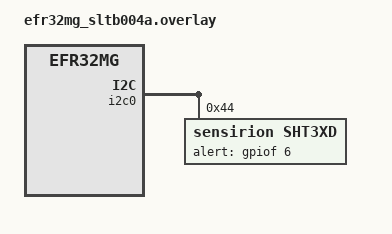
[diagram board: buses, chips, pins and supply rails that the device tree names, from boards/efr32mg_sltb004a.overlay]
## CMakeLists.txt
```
#
# Copyright (c) 2018 Peter Bigot Consulting, LLC
#
# SPDX-License-Identifier: Apache-2.0
#

cmake_minimum_required(VERSION 3.13.1)
find_package(Zephyr REQUIRED HINTS $ENV{ZEPHYR_BASE})
project(sht3xd)

FILE(GLOB app_sources src/*.c)
target_sources(app PRIVATE ${app_sources})
```

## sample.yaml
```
#
# Copyright (c) 2018 Peter Bigot Consulting, LLC
#
# SPDX-License-Identifier: Apache-2.0
#

sample:
  name: SHT3XD Sensor Sample
tests:
  sample.sensor.sht3xd:
    build_only: true
    platform_allow: efr32mg_sltb004a frdm_k64f nrf51_ble400
      nrf52840dk_nrf52840 nucleo_l476rg
    tags: sensors
  sample.sensor.sht3xd.trigger:
    build_only: true
    extra_args: CONF_FILE="trigger.conf"
    platform_allow: efr32mg_sltb004a frdm_k64f nrf51_ble400
      nrf52840dk_nrf52840 nucleo_l476rg
    tags: sensors
```

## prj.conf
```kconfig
#
# Copyright (c) 2018 Peter Bigot Consulting, LLC
#
# SPDX-License-Identifier: Apache-2.0
#

CONFIG_STDOUT_CONSOLE=y
CONFIG_I2C=y
CONFIG_SENSOR=y
CONFIG_SHT3XD=y
CONFIG_CBPRINTF_FP_SUPPORT=y
```

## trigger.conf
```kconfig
#
# Copyright (c) 2019 Peter Bigot Consulting, LLC
#
# SPDX-License-Identifier: Apache-2.0
#

CONFIG_STDOUT_CONSOLE=y
CONFIG_I2C=y
CONFIG_SENSOR=y
CONFIG_SHT3XD=y
CONFIG_LOG=y
CONFIG_SENSOR_LOG_LEVEL_DBG=y
CONFIG_SHT3XD_TRIGGER_GLOBAL_THREAD=y
```

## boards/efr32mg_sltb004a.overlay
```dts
/*
 * Copyright (c) 2018-2019 Peter Bigot Consulting, LLC
 *
 * SPDX-License-Identifier: Apache-2.0
 */

&i2c0 { /* SDA H16=PC10, SCL H15=PC11, ALERT H13=PF6 */
	sht3xd@44 {
		compatible = "sensirion,sht3xd";
		reg = <0x44>;
		label = "SHT3XD";
		alert-gpios = <&gpiof 6 GPIO_ACTIVE_HIGH>;
	};
};
```

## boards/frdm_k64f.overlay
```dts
/*
 * Copyright (c) 2019 Peter Bigot Consulting, LLC
 *
 * SPDX-License-Identifier: Apache-2.0
 */

&i2c0 { /* SDA PTE25, SCL PTE24, ALERT PTE26 */
	sht3xd@44 {
		compatible = "sensirion,sht3xd";
		reg = <0x44>;
		label = "SHT3XD";
		alert-gpios = <&gpioe 26 GPIO_ACTIVE_HIGH>;
	};
};
```

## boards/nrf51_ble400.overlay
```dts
/*
 * Copyright (c) 2018-2019 Peter Bigot Consulting, LLC
 *
 * SPDX-License-Identifier: Apache-2.0
 */

&i2c0 { /* SDA 0, SCL 1 */
	sht3xd@44 {
		compatible = "sensirion,sht3xd";
		reg = <0x44>;
		label = "SHT3XD";
		alert-gpios = <&gpio0 2 GPIO_ACTIVE_HIGH>;
	};
};
```

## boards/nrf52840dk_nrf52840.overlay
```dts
/*
 * Copyright (c) 2018-2019 Peter Bigot Consulting, LLC
 *
 * SPDX-License-Identifier: Apache-2.0
 */

&i2c0 { /* SDA P0.26, SCL P0.27, ALERT P1.10 */
	sht3xd@44 {
		compatible = "sensirion,sht3xd";
		reg = <0x44>;
		label = "SHT3XD";
		alert-gpios = <&gpio1 10 GPIO_ACTIVE_HIGH>;
	};
};
```

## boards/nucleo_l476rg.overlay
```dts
/*
 * Copyright (c) 2019 Peter Bigot Consulting, LLC
 *
 * SPDX-License-Identifier: Apache-2.0
 */

&i2c1 { /* SDA CN5.9=PB9, SCL CN5.10=PB8, ALERT CN5.1=D8=PA9 */
/* &i2c3 { * SDA CN7.36=PC1, SCL CN7.38=PC0, ALERT CN7.34=PB0 */
	sht3xd@44 {
		compatible = "sensirion,sht3xd";
		reg = <0x44>;
		label = "SHT3XD";
		alert-gpios = <&gpioa 9 GPIO_ACTIVE_HIGH>;
	};
};
```

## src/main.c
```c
/*
 * Copyright (c) 2018 Peter Bigot Consulting, LLC
 *
 * SPDX-License-Identifier: Apache-2.0
 */

#include <zephyr.h>
#include <device.h>
#include <drivers/sensor.h>
#include <stdio.h>

#define ALERT_HUMIDITY_LO 50
#define ALERT_HUMIDITY_HI 60

#ifdef CONFIG_SHT3XD_TRIGGER
static volatile bool alerted;

static void trigger_handler(const struct device *dev,
			    struct sensor_trigger *trig)
{
	alerted = !alerted;
}

#endif

void main(void)
{
	const struct device *dev = device_get_binding("SHT3XD");
	int rc;

	if (dev == NULL) {
		printf("Could not get SHT3XD device\n");
		return;
	}

#ifdef CONFIG_SHT3XD_TRIGGER
	struct sensor_trigger trig = {
		.type = SENSOR_TRIG_THRESHOLD,
		.chan = SENSOR_CHAN_HUMIDITY,
	};
	struct sensor_value lo_thr = { ALERT_HUMIDITY_LO };
	struct sensor_value hi_thr = { ALERT_HUMIDITY_HI };
	bool last_alerted = false;

	rc = sensor_attr_set(dev, SENSOR_CHAN_HUMIDITY,
			     SENSOR_ATTR_LOWER_THRESH, &lo_thr);
	if (rc == 0) {
		rc = sensor_attr_set(dev, SENSOR_CHAN_HUMIDITY,
				     SENSOR_ATTR_UPPER_THRESH, &hi_thr);
	}
	if (rc == 0) {
		rc = sensor_trigger_set(dev, &trig, trigger_handler);
	}
	if (rc != 0) {
		printf("SHT3XD: trigger config failed: %d\n", rc);
		return;
	}
	printf("Alert outside %d..%d %%RH got %d\n", lo_thr.val1,
	       hi_thr.val1, rc);
#endif

	while (true) {
		struct sensor_value temp, hum;

		rc = sensor_sample_fetch(dev);
		if (rc == 0) {
			rc = sensor_channel_get(dev, SENSOR_CHAN_AMBIENT_TEMP,
						&temp);
		}
		if (rc == 0) {
			rc = sensor_channel_get(dev, SENSOR_CHAN_HUMIDITY,
						&hum);
		}
		if (rc != 0) {
			printf("SHT3XD: failed: %d\n", rc);
			break;
		}

#ifdef CONFIG_SHT3XD_TRIGGER
		if (alerted != last_alerted) {
			if (lo_thr.val1 > hum.val1) {
				printf("ALERT: humidity %d < %d\n",
				       hum.val1, lo_thr.val1);
			} else if (hi_thr.val1 < hum.val1) {
				printf("ALERT: humidity %d > %d\n",
				       hum.val1, hi_thr.val1);
			} else {
				printf("ALERT: humidity %d <= %d <= %d\n",
				       lo_thr.val1, hum.val1, hi_thr.val1);
			}
			last_alerted = alerted;
		}
#endif

		printf("SHT3XD: %.2f Cel ; %0.2f %%RH\n",
		       sensor_value_to_double(&temp),
		       sensor_value_to_double(&hum));

		k_sleep(K_MSEC(2000));
	}
}
```
